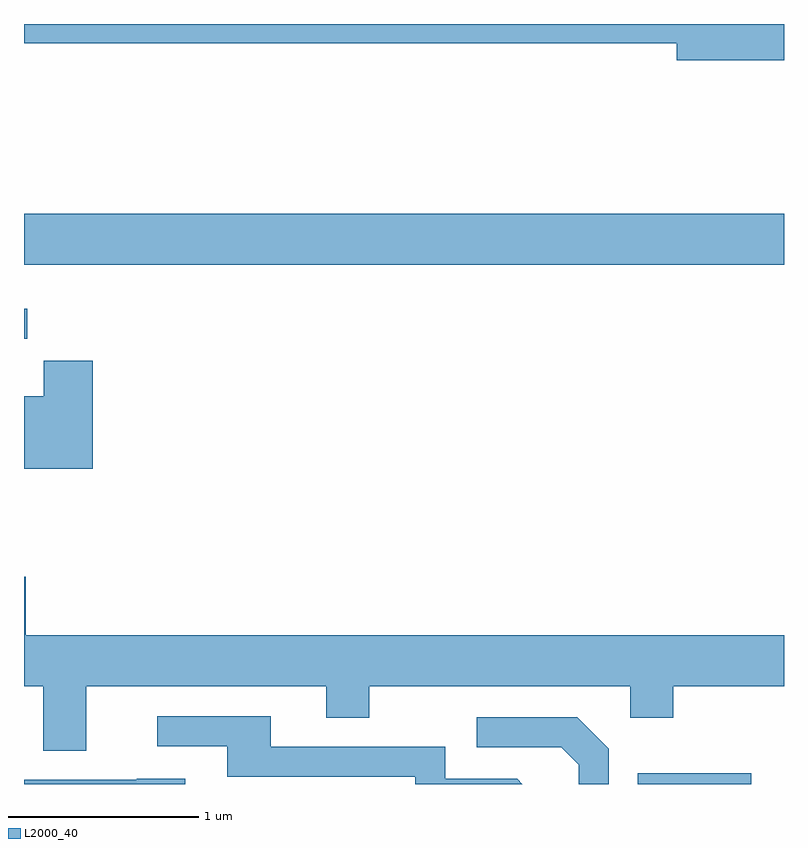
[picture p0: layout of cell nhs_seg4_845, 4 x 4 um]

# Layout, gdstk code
import gdstk
lib = gdstk.Library(unit=1e-6, precision=1e-09)
def R(c, l, rs):  # rectangles x0, y0, x1, y1
    for r in rs: c.add(gdstk.rectangle(r[:2], r[2:], *l))
def P(c, l, *ps):  # polygons
    for p in ps: c.add(gdstk.Polygon(p, *l))
L2000_40 = (2000, 40)

nhs_seg4_845 = lib.new_cell('nhs_seg4_845')
R(nhs_seg4_845, L2000_40, [(212.841,1311.982,213.439,1312.039), (209.611,1314.326,209.628,1314.484), (209.611,1314.716,213.611,1314.984)])
P(nhs_seg4_845, L2000_40, [(213.611,1315.982),(209.611,1315.982),(209.611,1315.881),(213.046,1315.881),(213.046,1315.791),(213.611,1315.791)],
  [(209.974,1314.209),(209.716,1314.209),(209.716,1314.024),(209.611,1314.024),(209.611,1313.641),(209.974,1313.641)],
  [(209.939,1312.496),(211.201,1312.496),(211.201,1312.331),(211.429,1312.331),(211.429,1312.496),(212.801,1312.496),(212.801,1312.331),(213.029,1312.331),(213.029,1312.496),(213.611,1312.496),(213.611,1312.764),(209.619,1312.764),(209.619,1313.074),(209.611,1313.074),(209.611,1312.496),(209.711,1312.496),(209.711,1312.156),(209.939,1312.156)],
  [(212.207,1312.009),(211.829,1312.009),(211.829,1312.179),(210.909,1312.179),(210.909,1312.339),(210.313,1312.339),(210.313,1312.181),(210.681,1312.181),(210.681,1312.021),(211.671,1312.021),(211.671,1311.982),(212.234,1311.982)],
  [(212.689,1312.167),(212.522,1312.334),(211.993,1312.334),(211.993,1312.176),(212.439,1312.176),(212.531,1312.084),(212.531,1311.982),(212.689,1311.982)],
  [(210.459,1312.009),(210.205,1312.009),(210.205,1312.004),(209.611,1312.004),(209.611,1311.982),(210.459,1311.982)])

lib.write_gds('nhs_seg4_845.gds')
